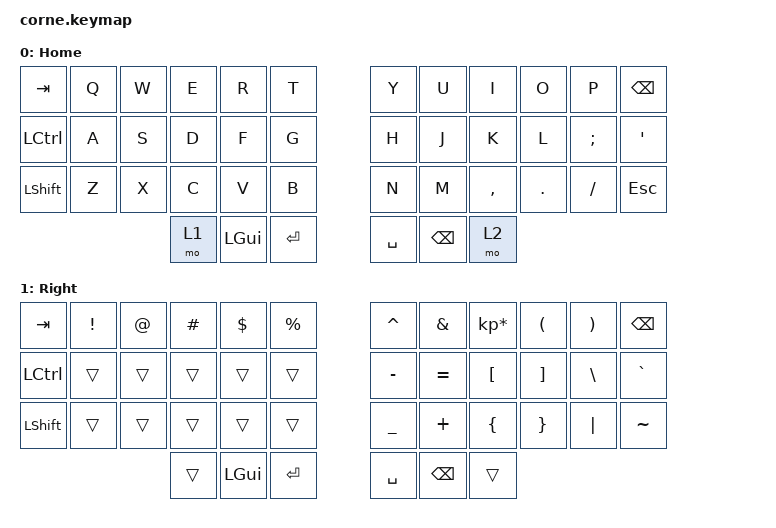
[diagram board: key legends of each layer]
/*
 * Copyright (c) 2020 The ZMK Contributors
 *
 * SPDX-License-Identifier: MIT
 */

#include <behaviors.dtsi>
#include <dt-bindings/zmk/bt.h>
#include <dt-bindings/zmk/keys.h>
#include <dt-bindings/zmk/mouse.h>

/ {
    keymap {
        compatible = "zmk,keymap";

        default_layer {
// -----------------------------------------------------------------------------------------
// |  TAB |  Q  |  W  |  E  |  R  |  T  |   |  Y  |  U   |  I  |  O  |  P  | BKSP |
// | CTRL |  A  |  S  |  D  |  F  |  G  |   |  H  |  J   |  K  |  L  |  ;  |  '   |
// | SHFT |  Z  |  X  |  C  |  V  |  B  |   |  N  |  M   |  ,  |  .  |  /  | ESC  |
//                    | LWR | CMD | RET |   | SPC | BKSP | RSE |
                        label = "Home";
                        bindings = <
   &kp TAB   &kp Q &kp W &kp E &kp R &kp T   &kp Y &kp U  &kp I     &kp O   &kp P    &kp BSPC
   &kp LCTRL &kp A &kp S &kp D &kp F &kp G   &kp H &kp J  &kp K     &kp L   &kp SEMI &kp SQT
   &kp LSHFT &kp Z &kp X &kp C &kp V &kp B   &kp N &kp M  &kp COMMA &kp DOT &kp FSLH &kp ESC
                  &mo 1 &kp LGUI &kp RET   &kp SPACE &kp BSPC &mo 2
            >;
        };

        lower_layer {
// -----------------------------------------------------------------------------------------
// |  TAB |  1  |  2  |  3  |  4  |  5  |   |  6  |  7   |  8  |  9  |  0  | BKSP |
// | CTRL |     |BTCLR|     |     |     |   |     | LFT  | DWN | UP  | RGT |      |
// | SHFT | BT1 | BT2 |     |     |     |   |     |      |     |     |     |      |
//                    |     | CMD | RET |   | SPC | BKSP |     |
                        label = "Left";
                        bindings = <      
   &kp TAB   &kp N1       &kp N2       &kp N3 &kp N4 &kp N5   &kp N6 &kp N7   &kp N8   &kp N9 &kp N0 &kp BSPC
   &kp LCTRL &trans       &bt BT_CLR   &trans &trans &trans   &trans &kp LEFT &kp DOWN &kp UP &kp RIGHT &trans
   &kp LSHFT &bt BT_SEL 0 &bt BT_SEL 1 &trans &trans &trans   &trans &trans   &trans   &trans &trans &trans
                                   &trans &kp LGUI &kp RET   &kp SPACE &kp BSPC &trans
        };

        raise_layer {
// -----------------------------------------------------------------------------------------
// |  TAB |  !  |  @  |  #  |  $  |  %  |   |  ^  |  &   |  *  |  (  |  )  | BKSP |
// | CTRL |     |     |     |     |     |   |  -  |  =   |  [  |  ]  |  \  |  `   |
// | SHFT |     |     |     |     |     |   |  _  |  +   |  {  |  }  | "|" |  ~   |
//                    |     | CMD | RET |   | SPC | BKSP |     |
                        label = "Right";
                        bindings = <
   &kp  TAB  &kp EXCL &kp AT &kp HASH &kp DLLR &kp PRCNT   &kp CARET &kp AMPS  &kp KP_MULTIPLY &kp LPAR &kp RPAR &kp BSPC
   &kp LCTRL &trans   &trans &trans   &trans   &trans      &kp MINUS &kp EQUAL &kp LBKT        &kp RBKT &kp BSLH &kp GRAVE
   &kp LSHFT &trans   &trans &trans   &trans   &trans      &kp UNDER &kp PLUS  &kp LBRC        &kp RBRC &kp PIPE &kp TILDE
                    	     &trans &kp LGUI   &kp RET   &kp SPACE   &kp BSPC    &trans
            >;
        };
    };
};
